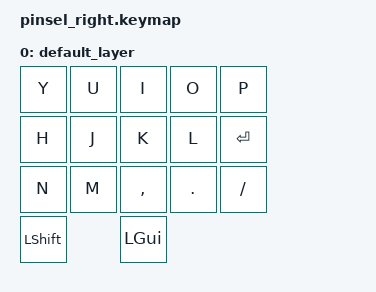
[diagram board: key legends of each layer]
/*
 * Copyright (c) 2020 The ZMK Contributors
 *
 * SPDX-License-Identifier: MIT
 */

#include <behaviors.dtsi>
#include <dt-bindings/zmk/keys.h>
#include <dt-bindings/zmk/bt.h>

#define DEFAULT 0
#define NUM_SYM 1
#define NAV     2

/ {
    behaviors {
        hm: homerow_mods {
            compatible = "zmk,behavior-hold-tap";
            label = "homerow mods";
            #binding-cells = <2>;
            tapping-term-ms = <225>;
            flavor = "tap-preferred";
            bindings = <&kp>, <&kp>;
        };
    };
};

/ {
    keymap {
        compatible = "zmk,keymap";

        default_layer {
            bindings = <
    &kp Y  &kp U  &kp I      &kp O    &kp P
    &kp H  &kp J  &kp K      &kp L    &kp RET
    &kp N  &kp M  &kp COMMA  &kp DOT  &kp SLASH
    &kp LSHFT  &kp LGUI
            >;
        };
    };
};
